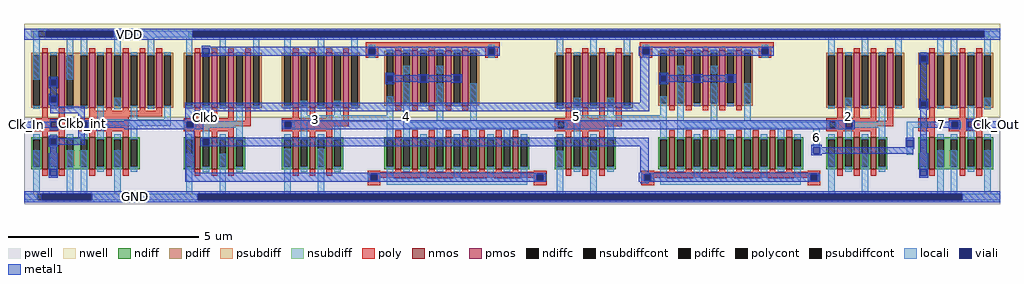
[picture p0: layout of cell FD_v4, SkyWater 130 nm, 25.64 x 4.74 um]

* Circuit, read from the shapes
.subckt FD_v4 Clk_In VDD GND Clk_Out
XM1 Clkb_int Clk_In GND GND sky130_fd_pr__nfet_01v8 w=0.84 l=0.15 m=2
XM2 Clk_in_buf Clkb_int GND GND sky130_fd_pr__nfet_01v8 w=0.84 l=0.15 m=3
XM3 Clkb Clk_in_buf GND GND sky130_fd_pr__nfet_01v8 w=0.84 l=0.15 m=3
XM4 3 2 GND GND sky130_fd_pr__nfet_01v8 w=0.84 l=0.15 m=3
XM5 4 Clk_in_buf 3 GND sky130_fd_pr__nfet_01v8 w=0.84 l=0.15 m=8
XM6 5 4 GND GND sky130_fd_pr__nfet_01v8 w=0.84 l=0.15 m=3
XM7 6 Clkb 5 GND sky130_fd_pr__nfet_01v8 w=0.84 l=0.15 m=8
XM8 2 6 GND GND sky130_fd_pr__nfet_01v8 w=0.84 l=0.15 m=3
XM9 GND 6 7 GND sky130_fd_pr__nfet_01v8 w=0.84 l=0.15
XM10 Clk_Out 7 GND GND sky130_fd_pr__nfet_01v8 w=0.84 l=0.15 m=2
XM11 Clkb_int Clk_In VDD VDD sky130_fd_pr__pfet_01v8 w=1.44 l=0.15 m=2
XM12 Clk_in_buf Clkb_int VDD VDD sky130_fd_pr__pfet_01v8 w=1.44 l=0.15 m=5
XM13 Clkb Clk_in_buf VDD VDD sky130_fd_pr__pfet_01v8 w=1.44 l=0.15 m=4
XM14 3 2 VDD VDD sky130_fd_pr__pfet_01v8 w=1.44 l=0.15 m=4
XM15 4 Clkb 3 VDD sky130_fd_pr__pfet_01v8 w=1.44 l=0.15 m=5
XM16 5 4 VDD VDD sky130_fd_pr__pfet_01v8 w=1.44 l=0.15 m=4
XM17 6 Clk_in_buf 5 VDD sky130_fd_pr__pfet_01v8 w=1.44 l=0.15 m=5
XM18 2 6 VDD VDD sky130_fd_pr__pfet_01v8 w=1.44 l=0.15 m=4
XM19 VDD 6 7 VDD sky130_fd_pr__pfet_01v8 w=1.44 l=0.15
XM20 Clk_Out 7 VDD VDD sky130_fd_pr__pfet_01v8 w=1.44 l=0.15 m=2
.ends

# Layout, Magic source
magic
tech sky130A
magscale 1 2
<< nwell >>
rect -383 -58 4744 178
rect -382 -313 4744 -58
<< pwell >>
rect -382 -769 4744 -313
<< ndiff >>
rect -112 -585 -98 -417
rect 4460 -585 4474 -417
<< pdiff >>
rect -112 -263 -98 25
rect 4460 -263 4474 25
<< psubdiff >>
rect -382 -748 -314 -714
rect -27 -748 531 -714
rect 4545 -748 4744 -714
<< nsubdiff >>
rect -346 107 -309 141
rect 89 107 116 141
rect 479 107 503 141
rect 4661 107 4688 141
<< psubdiffcont >>
rect -314 -748 -27 -714
rect 531 -748 4545 -714
<< nsubdiffcont >>
rect -309 107 89 141
rect 503 107 4661 141
<< poly >>
rect 1413 52 1568 82
rect 1950 52 2117 82
rect 2851 52 3006 82
rect 3388 52 3555 82
rect 1413 51 1479 52
rect 1413 17 1429 51
rect 1463 17 1479 51
rect 1413 1 1479 17
rect 2039 51 2105 52
rect 2039 17 2055 51
rect 2089 17 2105 51
rect 2039 1 2105 17
rect 2851 51 2917 52
rect 2851 17 2867 51
rect 2901 17 2917 51
rect 2851 1 2917 17
rect 3477 51 3543 52
rect 3477 17 3493 51
rect 3527 17 3543 51
rect 3477 1 3543 17
rect -40 -319 166 -308
rect 1422 -600 1489 -593
rect 2295 -600 2362 -593
rect 1422 -611 1568 -600
rect 1422 -645 1438 -611
rect 1472 -630 1568 -611
rect 2214 -611 2362 -600
rect 2214 -630 2311 -611
rect 1472 -645 1489 -630
rect 1422 -669 1489 -645
rect 2295 -645 2311 -630
rect 2345 -645 2362 -611
rect 2295 -669 2362 -645
rect 2860 -600 2927 -593
rect 3733 -600 3800 -593
rect 2860 -611 3006 -600
rect 2860 -645 2876 -611
rect 2910 -630 3006 -611
rect 3652 -611 3800 -600
rect 3652 -630 3749 -611
rect 2910 -645 2927 -630
rect 2860 -669 2927 -645
rect 3733 -645 3749 -630
rect 3783 -645 3800 -611
rect 3733 -669 3800 -645
<< polycont >>
rect 1429 17 1463 51
rect 2055 17 2089 51
rect 2867 17 2901 51
rect 3493 17 3527 51
rect 1438 -645 1472 -611
rect 2311 -645 2345 -611
rect 2876 -645 2910 -611
rect 3749 -645 3783 -611
<< locali >>
rect -334 107 -309 141
rect 89 107 503 141
rect 4661 107 4744 141
rect -334 -115 -300 107
rect -158 -115 -124 107
rect -86 13 -52 107
rect 90 13 124 107
rect 266 13 300 107
rect 468 13 502 107
rect 644 13 678 107
rect 820 13 854 107
rect 984 29 1018 107
rect 1160 13 1194 107
rect 1336 13 1370 107
rect 1429 51 1463 67
rect 1429 1 1463 17
rect 2055 51 2089 67
rect 2055 1 2089 17
rect 2416 13 2450 107
rect 2592 13 2626 107
rect 2768 13 2802 107
rect 2867 51 2901 67
rect 2867 1 2901 17
rect 3493 51 3527 67
rect 3493 1 3527 17
rect 3843 13 3877 107
rect 4019 13 4053 107
rect 4195 13 4229 107
rect 4414 13 4448 107
rect 4486 13 4520 107
rect 4662 13 4696 107
rect 1610 -83 1644 -42
rect 1786 -83 1820 -42
rect 3048 -83 3082 -42
rect 3224 -83 3258 -42
rect 1610 -92 1614 -83
rect 3048 -92 3052 -83
rect 1610 -134 1614 -126
rect 3048 -134 3052 -126
rect -246 -262 -212 -235
rect 2 -322 36 -267
rect 90 -270 124 -209
rect 178 -322 212 -266
rect 354 -322 388 -267
rect 2 -334 388 -322
rect -346 -369 -242 -335
rect 36 -356 388 -334
rect 556 -334 590 -267
rect 732 -334 766 -251
rect 2 -403 36 -368
rect 178 -403 212 -356
rect 556 -368 766 -334
rect 1072 -303 1106 -225
rect 1248 -303 1282 -225
rect 1522 -303 1556 -202
rect 556 -403 590 -368
rect -246 -470 -212 -456
rect 732 -429 766 -368
rect 1072 -337 1556 -303
rect 1072 -403 1106 -337
rect 1248 -429 1282 -337
rect 1522 -413 1556 -337
rect 1610 -335 1644 -134
rect 1786 -335 1820 -134
rect 1962 -335 1996 -134
rect 2504 -303 2538 -209
rect 2680 -303 2714 -209
rect 2960 -303 2994 -202
rect 1610 -369 2408 -335
rect 2504 -337 2994 -303
rect 1610 -415 1644 -369
rect 1786 -415 1820 -369
rect 1962 -417 1996 -369
rect 2138 -403 2172 -369
rect 2504 -403 2538 -337
rect 2680 -429 2714 -337
rect 2960 -413 2994 -337
rect 3048 -335 3082 -134
rect 3224 -335 3258 -134
rect 3400 -335 3434 -134
rect 3931 -335 3965 -209
rect 4107 -335 4141 -267
rect 4574 -334 4608 -267
rect 4662 -270 4696 -209
rect 3048 -369 3831 -335
rect 3931 -369 3934 -335
rect 3968 -369 4141 -335
rect 3048 -415 3082 -369
rect 3224 -415 3258 -369
rect 3400 -417 3434 -369
rect 3576 -403 3610 -369
rect 3764 -470 3798 -369
rect 3931 -403 3965 -369
rect 4107 -403 4141 -369
rect 4254 -369 4314 -335
rect 4329 -369 4363 -335
rect -334 -714 -300 -486
rect -246 -585 -212 -477
rect -158 -714 -124 -486
rect -86 -714 -52 -486
rect 90 -714 124 -486
rect 468 -714 502 -503
rect 644 -714 678 -503
rect 984 -714 1018 -477
rect 1160 -714 1194 -477
rect 1422 -645 1438 -611
rect 1472 -645 1488 -611
rect 1522 -633 1556 -599
rect 1698 -633 1732 -599
rect 1874 -633 1908 -573
rect 2050 -633 2084 -573
rect 2226 -633 2260 -573
rect 1522 -667 2260 -633
rect 2295 -645 2311 -611
rect 2345 -645 2361 -611
rect 2416 -714 2450 -488
rect 2592 -714 2626 -488
rect 4254 -433 4288 -369
rect 4574 -403 4608 -368
rect 2860 -645 2876 -611
rect 2910 -645 2926 -611
rect 2960 -633 2994 -599
rect 3136 -633 3170 -599
rect 3312 -633 3346 -573
rect 3488 -633 3522 -573
rect 3664 -633 3698 -573
rect 2960 -667 3698 -633
rect 3733 -645 3749 -611
rect 3783 -645 3799 -611
rect 3843 -714 3877 -501
rect 4019 -714 4053 -501
rect 4254 -510 4288 -467
rect 4326 -470 4360 -436
rect 4326 -585 4360 -477
rect 4414 -714 4448 -486
rect 4486 -714 4520 -486
rect 4662 -714 4696 -486
rect -382 -748 -314 -714
rect -27 -748 531 -714
rect 4545 -748 4744 -714
<< viali >>
rect -270 107 89 141
rect 503 107 4661 141
rect -246 -147 -212 -113
rect 556 17 590 51
rect 1429 17 1463 51
rect 2055 17 2089 51
rect 2867 17 2901 51
rect 3493 17 3527 51
rect 4326 -21 4360 13
rect 1522 -126 1556 -92
rect 1698 -126 1732 -92
rect 1874 -126 1908 -92
rect 2960 -126 2994 -92
rect 3136 -126 3170 -92
rect 3312 -126 3346 -92
rect -246 -235 -212 -201
rect -242 -369 -208 -335
rect -82 -369 -48 -335
rect 2 -368 36 -334
rect 472 -369 506 -335
rect -246 -456 -212 -422
rect 556 -459 590 -425
rect 988 -369 1022 -335
rect 4326 -262 4360 -228
rect 3934 -369 3968 -335
rect 4490 -369 4524 -335
rect 4574 -368 4608 -334
rect -246 -619 -212 -585
rect 1438 -645 1472 -611
rect 2311 -645 2345 -611
rect 3764 -504 3798 -470
rect 4254 -467 4288 -433
rect 2876 -645 2910 -611
rect 3749 -645 3783 -611
rect 4326 -619 4360 -585
rect -289 -748 -27 -714
rect 531 -748 4545 -714
<< metal1 >>
rect -383 141 4744 153
rect -383 107 -270 141
rect 89 107 503 141
rect 4661 107 4744 141
rect -383 95 4744 107
rect 550 57 596 63
rect 550 51 2117 57
rect 550 17 556 51
rect 590 17 1429 51
rect 1463 17 2055 51
rect 2089 17 2117 51
rect 550 11 2117 17
rect 2847 51 3555 57
rect 2847 17 2867 51
rect 2901 17 3493 51
rect 3527 17 3555 51
rect 2847 11 3555 17
rect 4320 13 4366 25
rect 550 5 596 11
rect 1516 -92 1562 -80
rect 1686 -92 1744 -86
rect 1862 -92 1920 -86
rect -252 -113 -206 -101
rect -252 -147 -246 -113
rect -212 -147 -206 -113
rect 1516 -126 1522 -92
rect 1556 -126 1698 -92
rect 1732 -126 1874 -92
rect 1908 -126 1920 -92
rect 1516 -138 1562 -126
rect 1686 -132 1744 -126
rect 1862 -132 1920 -126
rect -252 -159 -206 -147
rect -246 -189 -212 -159
rect -252 -201 -206 -189
rect -252 -235 -246 -201
rect -212 -235 -206 -201
rect -252 -247 -206 -235
rect 2855 -236 2901 11
rect 4320 -21 4326 13
rect 4360 -21 4366 13
rect 4320 -33 4366 -21
rect 2954 -92 3000 -80
rect 3124 -92 3182 -86
rect 3300 -92 3358 -86
rect 2954 -126 2960 -92
rect 2994 -126 3136 -92
rect 3170 -126 3312 -92
rect 3346 -126 3358 -92
rect 2954 -138 3000 -126
rect 3124 -132 3182 -126
rect 3300 -132 3358 -126
rect 4326 -216 4360 -33
rect -246 -258 -206 -247
rect -246 -292 -64 -258
rect -248 -335 -202 -323
rect -382 -369 -242 -335
rect -208 -369 -202 -335
rect -248 -381 -202 -369
rect -98 -329 -64 -292
rect 465 -282 2901 -236
rect 4320 -228 4366 -216
rect 4320 -262 4326 -228
rect 4360 -262 4366 -228
rect 4320 -274 4366 -262
rect -98 -335 -36 -329
rect -98 -369 -82 -335
rect -48 -369 -36 -335
rect -98 -375 -36 -369
rect -4 -334 42 -322
rect 465 -329 511 -282
rect 143 -334 558 -329
rect -4 -368 2 -334
rect 36 -335 558 -334
rect 36 -368 472 -335
rect -252 -422 -206 -410
rect -98 -422 -64 -375
rect -4 -380 42 -368
rect 143 -369 472 -368
rect 506 -369 558 -335
rect 143 -375 558 -369
rect 972 -335 3980 -329
rect 972 -369 988 -335
rect 1022 -369 3934 -335
rect 3968 -369 3980 -335
rect 972 -375 3980 -369
rect 4326 -335 4360 -274
rect 4478 -335 4536 -329
rect 4326 -369 4490 -335
rect 4524 -369 4536 -335
rect -252 -456 -246 -422
rect -212 -456 -64 -422
rect -252 -468 -206 -456
rect -246 -501 -212 -468
rect -252 -585 -206 -501
rect -252 -619 -246 -585
rect -212 -619 -206 -585
rect -252 -631 -206 -619
rect 465 -605 511 -375
rect 544 -425 2899 -419
rect 544 -459 556 -425
rect 590 -459 2899 -425
rect 4248 -433 4294 -421
rect 544 -465 2899 -459
rect 2853 -605 2899 -465
rect 3752 -470 3808 -458
rect 4248 -467 4254 -433
rect 4288 -467 4294 -433
rect 4248 -470 4294 -467
rect 3752 -504 3764 -470
rect 3798 -479 4294 -470
rect 3798 -504 4288 -479
rect 4326 -501 4360 -369
rect 4478 -375 4536 -369
rect 4568 -334 4614 -322
rect 4568 -368 4574 -334
rect 4608 -368 4744 -334
rect 4568 -380 4614 -368
rect 3752 -512 3808 -504
rect 4320 -585 4366 -501
rect 465 -611 2357 -605
rect 465 -645 1438 -611
rect 1472 -645 2311 -611
rect 2345 -645 2357 -611
rect 465 -651 2357 -645
rect 2847 -611 3795 -605
rect 2847 -645 2876 -611
rect 2910 -645 3749 -611
rect 3783 -645 3795 -611
rect 4320 -619 4326 -585
rect 4360 -619 4366 -585
rect 4320 -631 4366 -619
rect 2847 -651 3795 -645
rect 2853 -660 2899 -651
rect -382 -714 4744 -702
rect -382 -748 -289 -714
rect -27 -748 531 -714
rect 4545 -748 4744 -714
rect -382 -760 4744 -748
use sky130_fd_pr__nfet_01v8_PW6BNL  sky130_fd_pr__nfet_01v8_PW6BNL_0
transform 1 0 -25 0 1 -422
box -73 -199 249 103
use sky130_fd_pr__pfet_01v8_A2DS5R  sky130_fd_pr__pfet_01v8_A2DS5R_0
transform 1 0 -25 0 1 -227
box -109 -86 461 314
use sky130_fd_pr__nfet_01v8_PW8BNL  sky130_fd_pr__nfet_01v8_PW8BNL_0
transform 1 0 -273 0 1 -422
box -73 -199 161 103
use sky130_fd_pr__pfet_01v8_A1DS5R  sky130_fd_pr__pfet_01v8_A1DS5R_0
transform 1 0 -273 0 1 -227
box -109 -133 197 314
use sky130_fd_pr__pfet_01v8_A8DS5R  MPClkin
transform 1 0 529 0 1 -227
box -109 -133 373 314
use sky130_fd_pr__nfet_01v8_PW6BNL  MNClkin
transform 1 0 529 0 1 -422
box -73 -199 249 103
use sky130_fd_pr__pfet_01v8_A8DS5R  MPinv1
transform 1 0 1045 0 1 -227
box -109 -133 373 314
use sky130_fd_pr__nfet_01v8_PW6BNL  MNinv1
transform 1 0 1045 0 1 -422
box -73 -199 249 103
use sky130_fd_pr__pfet_01v8_A2DS5R  MPTgate1
transform 1 0 1583 0 -1 1
box -109 -86 461 314
use sky130_fd_pr__nfet_01v8_PW9BNL  MNTgate1
transform 1 0 1583 0 -1 -580
box -73 -199 689 50
use sky130_fd_pr__pfet_01v8_A8DS5R  MPinv2
transform 1 0 2477 0 1 -227
box -109 -133 373 314
use sky130_fd_pr__nfet_01v8_PW6BNL  MNinv2
transform 1 0 2477 0 1 -422
box -73 -199 249 103
use sky130_fd_pr__nfet_01v8_PW9BNL  MNTgate2
transform 1 0 3021 0 -1 -580
box -73 -199 689 50
use sky130_fd_pr__pfet_01v8_A2DS5R  MPTgate2
transform 1 0 3021 0 -1 1
box -109 -86 461 314
use sky130_fd_pr__nfet_01v8_PW6BNL  MNfb
transform 1 0 3904 0 1 -422
box -73 -199 249 103
use sky130_fd_pr__pfet_01v8_A8DS5R  MPfb
transform 1 0 3904 0 1 -227
box -109 -133 373 314
use sky130_fd_pr__pfet_01v8_A1DS5R  MPbuf2
transform 1 0 4547 0 1 -227
box -109 -133 197 314
use sky130_fd_pr__nfet_01v8_PW8BNL  MNbuf2
transform 1 0 4547 0 1 -422
box -73 -199 161 103
use sky130_fd_pr__pfet_01v8_A9DS5R  MPbuf1
transform 1 0 4387 0 1 -227
box -109 -133 109 314
use sky130_fd_pr__nfet_01v8_PW7BNL  MNbuf1
transform 1 0 4387 0 1 -422
box -73 -199 73 103
<< labels >>
rlabel metal1 -382 -369 -357 -335 1 Clk_In
port 1 n
rlabel metal1 -95 -364 -56 -332 1 Clkb_int
rlabel metal1 132 -363 160 -340 1 Clk_in_buf
rlabel metal1 184 -760 218 -702 1 GND
port 3 n
rlabel metal1 156 95 190 153 1 VDD
port 2 n
rlabel locali 1138 -335 1163 -311 1 3
rlabel locali 1616 -321 1641 -297 1 4
rlabel locali 2509 -323 2534 -299 1 5
rlabel locali 3935 -321 3960 -297 1 2
rlabel locali 3768 -430 3792 -404 1 6
rlabel metal1 4424 -363 4449 -339 1 7
rlabel metal1 4710 -368 4744 -334 1 Clk_Out
port 4 n
rlabel locali 560 -326 585 -298 1 Clkb
<< properties >>
string LEFsite unithddb1
string LEFclass CORE
<< end >>

# cell sky130_fd_pr__nfet_01v8_PW6BNL: kit device sky130_fd_pr__nfet_01v8, w 0.460 l 0.150 m 1 nf 1 diffcov 100 polycov 100 guard 0 glc 0 grc 0 gtc 0 gbc 0 tbcov 100 rlcov 100 topc 1 botc 0 poverlap 0 doverlap 1 lmin 0.15 wmin 0.42 compatible {sky130_fd_pr__nfet_01v8 sky130_fd_pr__nfet_01v8_lvt sky130_fd_bs_flash__special_sonosfet_star sky130_fd_pr__nfet_g5v0d10v5 sky130_fd_pr__nfet_05v0_nvt sky130_fd_pr__nfet_03v3_nvt} full_metal 0 viasrc 100 viadrn 100 viagate 100 viagb 0 viagr 0 viagl 0 viagt 0

# cell sky130_fd_pr__pfet_01v8_A2DS5R: kit device sky130_fd_pr__pfet_01v8, w 0.72 l 0.15 m 1 nf 1 diffcov 100 polycov 100 guard 0 glc 0 grc 0 gtc 0 gbc 0 tbcov 100 rlcov 100 topc 0 botc 1 poverlap 0 doverlap 1 lmin 0.15 wmin 0.42 compatible {sky130_fd_pr__pfet_01v8 sky130_fd_pr__pfet_01v8_lvt sky130_fd_pr__pfet_01v8_hvt sky130_fd_pr__pfet_g5v0d10v5} full_metal 0 viasrc 100 viadrn 100 viagate 100 viagb 0 viagr 0 viagl 0 viagt 0

# cell sky130_fd_pr__nfet_01v8_PW8BNL: kit device sky130_fd_pr__nfet_01v8, w 0.460 l 0.150 m 1 nf 1 diffcov 100 polycov 100 guard 0 glc 0 grc 0 gtc 0 gbc 0 tbcov 100 rlcov 100 topc 1 botc 0 poverlap 0 doverlap 1 lmin 0.15 wmin 0.42 compatible {sky130_fd_pr__nfet_01v8 sky130_fd_pr__nfet_01v8_lvt sky130_fd_bs_flash__special_sonosfet_star sky130_fd_pr__nfet_g5v0d10v5 sky130_fd_pr__nfet_05v0_nvt sky130_fd_pr__nfet_03v3_nvt} full_metal 0 viasrc 100 viadrn 100 viagate 100 viagb 0 viagr 0 viagl 0 viagt 0

# cell sky130_fd_pr__pfet_01v8_A1DS5R: kit device sky130_fd_pr__pfet_01v8, w 0.72 l 0.15 m 1 nf 1 diffcov 100 polycov 100 guard 0 glc 0 grc 0 gtc 0 gbc 0 tbcov 100 rlcov 100 topc 0 botc 1 poverlap 0 doverlap 1 lmin 0.15 wmin 0.42 compatible {sky130_fd_pr__pfet_01v8 sky130_fd_pr__pfet_01v8_lvt sky130_fd_pr__pfet_01v8_hvt sky130_fd_pr__pfet_g5v0d10v5} full_metal 0 viasrc 100 viadrn 100 viagate 100 viagb 0 viagr 0 viagl 0 viagt 0

# cell sky130_fd_pr__pfet_01v8_A8DS5R: kit device sky130_fd_pr__pfet_01v8, w 0.72 l 0.15 m 1 nf 1 diffcov 100 polycov 100 guard 0 glc 0 grc 0 gtc 0 gbc 0 tbcov 100 rlcov 100 topc 0 botc 1 poverlap 0 doverlap 1 lmin 0.15 wmin 0.42 compatible {sky130_fd_pr__pfet_01v8 sky130_fd_pr__pfet_01v8_lvt sky130_fd_pr__pfet_01v8_hvt sky130_fd_pr__pfet_g5v0d10v5} full_metal 0 viasrc 100 viadrn 100 viagate 100 viagb 0 viagr 0 viagl 0 viagt 0

# cell sky130_fd_pr__nfet_01v8_PW9BNL: kit device sky130_fd_pr__nfet_01v8, w 0.460 l 0.150 m 1 nf 1 diffcov 100 polycov 100 guard 0 glc 0 grc 0 gtc 0 gbc 0 tbcov 100 rlcov 100 topc 1 botc 0 poverlap 0 doverlap 1 lmin 0.15 wmin 0.42 compatible {sky130_fd_pr__nfet_01v8 sky130_fd_pr__nfet_01v8_lvt sky130_fd_bs_flash__special_sonosfet_star sky130_fd_pr__nfet_g5v0d10v5 sky130_fd_pr__nfet_05v0_nvt sky130_fd_pr__nfet_03v3_nvt} full_metal 0 viasrc 100 viadrn 100 viagate 100 viagb 0 viagr 0 viagl 0 viagt 0

# cell sky130_fd_pr__pfet_01v8_A9DS5R: kit device sky130_fd_pr__pfet_01v8, w 0.72 l 0.15 m 1 nf 1 diffcov 100 polycov 100 guard 0 glc 0 grc 0 gtc 0 gbc 0 tbcov 100 rlcov 100 topc 0 botc 1 poverlap 0 doverlap 1 lmin 0.15 wmin 0.42 compatible {sky130_fd_pr__pfet_01v8 sky130_fd_pr__pfet_01v8_lvt sky130_fd_pr__pfet_01v8_hvt sky130_fd_pr__pfet_g5v0d10v5} full_metal 0 viasrc 100 viadrn 100 viagate 100 viagb 0 viagr 0 viagl 0 viagt 0

# cell sky130_fd_pr__nfet_01v8_PW7BNL: kit device sky130_fd_pr__nfet_01v8, w 0.460 l 0.150 m 1 nf 1 diffcov 100 polycov 100 guard 0 glc 0 grc 0 gtc 0 gbc 0 tbcov 100 rlcov 100 topc 1 botc 0 poverlap 0 doverlap 1 lmin 0.15 wmin 0.42 compatible {sky130_fd_pr__nfet_01v8 sky130_fd_pr__nfet_01v8_lvt sky130_fd_bs_flash__special_sonosfet_star sky130_fd_pr__nfet_g5v0d10v5 sky130_fd_pr__nfet_05v0_nvt sky130_fd_pr__nfet_03v3_nvt} full_metal 0 viasrc 100 viadrn 100 viagate 100 viagb 0 viagr 0 viagl 0 viagt 0
